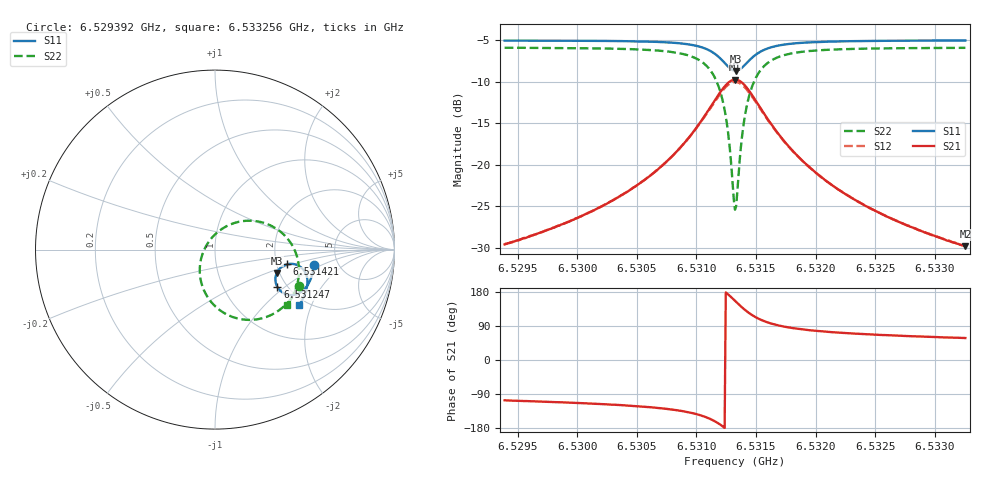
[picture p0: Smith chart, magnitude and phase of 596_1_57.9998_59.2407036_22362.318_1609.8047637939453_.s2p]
#  HZ  S  RI  R  50.00
! Rohde & Schwarz Vector Network Analyzer
! Rohde-Schwarz,ZNB20-2Port,1311601062101988,3.16
! Created: UTC 3/21/2024, 1:17:01 AM
! freq[Hz]  re:S11  im:S11  re:S21  im:S21  re:S12  im:S12  re:S22  im:S22
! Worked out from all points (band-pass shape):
!   401 points, 6.529392 GHz to 6.533256 GHz, reference 50 ohm
!   highest |S21| = -9.73 dB at 6.531324 GHz (marker M1); lowest = -29.8 dB at 6.533256 GHz (marker M2)
!   |S21| within 3 dB of the highest: 6.531132 GHz to 6.531519 GHz (386.4 kHz wide, 0.00592 % of centre)
!   lowest |S11| = -8.7 dB at 6.531334 GHz (marker M3), VSWR 2.16, Z = 96.7 - j29.1 ohm
!   |S11| at or under -10 dB: nowhere
!   |S22| runs from -25.4 to -5.9 dB; largest |S21 - S12| = 0.013
!   S11 on the Smith chart (normalised r, x): 6.529392 GHz: 3.32, -0.84; 6.531247 GHz: 1.78, -0.88; 6.531421 GHz: 2.28, -0.45; 6.533256 GHz: 1.83, -1.64
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6.5293918e9  0.5539 -0.0864  -0.00931 -0.0317  -0.0101 -0.0315  0.4656 -0.2028
6.5300392e9  0.5416 -0.1408  -0.0198 -0.0449  -0.021 -0.0443  0.4311 -0.2629
6.5304063e9  0.5283 -0.1756  -0.0337 -0.0587  -0.0352 -0.0578  0.3946 -0.306
6.5306865e9  0.5103 -0.2067  -0.0569 -0.0761  -0.059 -0.0744  0.3424 -0.3479
6.5309087e9  0.4812 -0.2355  -0.0996 -0.0951  -0.1025 -0.0915  0.2565 -0.384
6.5310826e9  0.4305 -0.2534  -0.1783 -0.0981  -0.18 -0.0903  0.1136 -0.3804
6.5311792e9  0.382 -0.2425  -0.2525 -0.0622  -0.2503 -0.0516  -0.00845 -0.306
6.5312468e9  0.3473 -0.2075  -0.302 0.00816  -0.294 0.0182  -0.0775 -0.1793
6.5312758e9  0.3384 -0.1838  -0.3117 0.0518  -0.3012 0.06  -0.0849 -0.1056
6.5313145e9  0.3383 -0.1479  -0.3044 0.1159  -0.2921 0.1199  -0.0611 -0.00257
6.5313241e9  0.3408 -0.1391  -0.2985 0.1316  -0.2862 0.1344  -0.0488 0.0218
6.5313338e9  0.3441 -0.1303  -0.2913 0.1464  -0.279 0.1483  -0.0342 0.0446
6.5313435e9  0.3484 -0.1222  -0.2824 0.1606  -0.2704 0.1613  -0.0174 0.0661
6.5313821e9  0.3722 -0.0957  -0.237 0.205  -0.2269 0.2025  0.0649 0.1307
6.5314208e9  0.4016 -0.0819  -0.1841 0.2278  -0.1769 0.2238  0.1557 0.1588
6.5314884e9  0.4478 -0.0826  -0.1037 0.2271  -0.1002 0.2235  0.2894 0.143
6.531585e9  0.4876 -0.1066  -0.036 0.1915  -0.0343 0.1897  0.3982 0.0679
6.5317299e9  0.5099 -0.1445  0.00384 0.1405  0.00508 0.1397  0.4558 -0.0343
6.5319715e9  0.5149 -0.1891  0.0197 0.0912  0.0208 0.0909  0.4676 -0.1364
6.532271e9  0.508 -0.226  0.0216 0.0614  0.0225 0.0611  0.4552 -0.2047
6.5326188e9  0.4962 -0.2587  0.0201 0.0434  0.0209 0.0432  0.4359 -0.2533
6.5332564e9  0.4708 -0.3073  0.0171 0.0273  0.0176 0.027  0.4006 -0.3113
